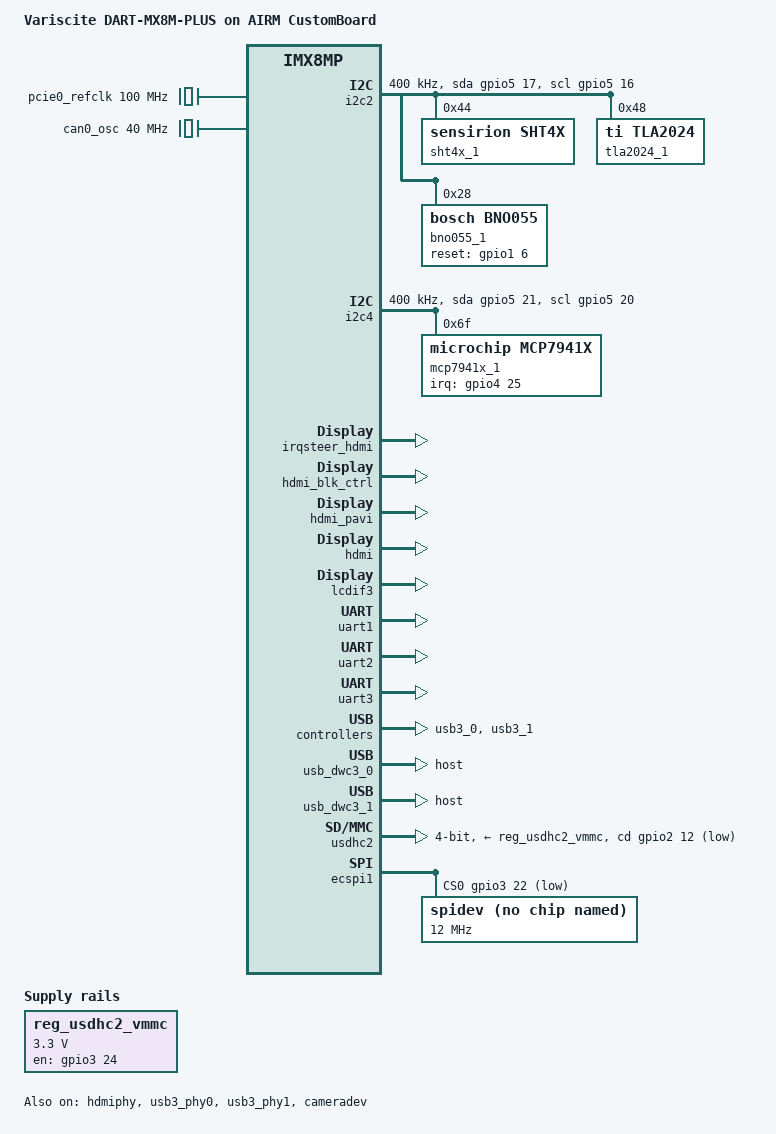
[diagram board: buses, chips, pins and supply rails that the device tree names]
// SPDX-License-Identifier: (GPL-2.0+ OR MIT)
/*
 * Copyright 2019 NXP
 * Copyright 2020-2023 Variscite Ltd.
 */

#include "imx8mp-var-dart.dtsi"

/ {
	model = "Variscite DART-MX8M-PLUS on AIRM CustomBoard";

	chosen {
		stdout-path = &uart1;
	};

	pcie0_refclk: pcie0-refclk {
		compatible = "fixed-clock";
		#clock-cells = <0>;
		clock-frequency = <100000000>;
	};

	reg_usdhc2_vmmc: regulator-usdhc2-vmmc {
		compatible = "regulator-fixed";
		regulator-name = "VSD_3V3";
		regulator-min-microvolt = <3300000>;
		regulator-max-microvolt = <3300000>;
		gpio = <&gpio3 24 GPIO_ACTIVE_HIGH>;
		enable-active-high;
		startup-delay-us = <100>;
		off-on-delay-us = <12000>;
	};

	can0_osc: can0_osc {
		compatible = "fixed-clock";
		#clock-cells = <0>;
		clock-frequency = <40000000>;
	};

	sound-wm8904 {
		status = "disabled";
	};

	sound_hdmi: sound_hdmi {
		compatible = "fsl,imx-audio-hdmi";
		model = "audio-hdmi";
		audio-cpu = <&aud2htx>;
		hdmi-out;
		constraint-rate = <44100>,
				<88200>,
				<176400>,
				<32000>,
				<48000>,
				<96000>,
				<192000>;
		status = "disabled";
	};

	sound-xcvr {
		compatible = "fsl,imx-audio-card";
		model = "imx-audio-xcvr";
		pri-dai-link {
			link-name = "XCVR PCM";
			cpu {
				sound-dai = <&xcvr>;
			};
		};
	};
};

&aud2htx {
	status = "disabled";
};

&i2c1 {
	wm8904: codec@1a {
		status = "disabled";
	};
};

&i2c2 {
	clock-frequency = <400000>;
	pinctrl-names = "default", "gpio";
	pinctrl-0 = <&pinctrl_i2c2>;
	pinctrl-1 = <&pinctrl_i2c2_gpio>;
	scl-gpios = <&gpio5 16 GPIO_ACTIVE_HIGH>;
	sda-gpios = <&gpio5 17 GPIO_ACTIVE_HIGH>;
	status = "okay";

	sht4x_1: sht4x@44 {
		compatible = "sensirion,sht4x";
		reg = <0x44>;
	};
	
	tla2024_1: tla2024@48 {
		compatible = "ti,tla2024";
		reg = <0x48>;
		#address-cells = <1>;
		#size-cells = <0>;
		channel@0 {
			reg = <4>;
			ti,gain = <1>;
			ti,datarate = <4>;
		};
		channel@1 {
			reg = <5>;
			ti,gain = <1>;
			ti,datarate = <4>;
		};
		channel@2 {
			reg = <6>;
			ti,gain = <1>;
			ti,datarate = <4>;
		};
		channel@3 {
			reg = <7>;
			ti,gain = <1>;
			ti,datarate = <4>;
		};
	};
	
	bno055_1: bno055_i2c@28 {
		compatible = "bosch,bno055";
		reg = <0x28>;
		reset-gpios = <&gpio1 6 GPIO_ACTIVE_HIGH>;
    };
};

&i2c4 {
	clock-frequency = <400000>;
	pinctrl-names = "default", "gpio";
	pinctrl-0 = <&pinctrl_i2c4>;
	pinctrl-1 = <&pinctrl_i2c4_gpio>;
	scl-gpios = <&gpio5 20 GPIO_ACTIVE_HIGH>;
	sda-gpios = <&gpio5 21 GPIO_ACTIVE_HIGH>;
	status = "okay";

	mcp7941x_1: mcp7941x@6f {
		compatible = "microchip,mcp7941x";
		reg = <0x6f>;
		pinctrl-names = "default";
		pinctrl-0 = <&pinctrl_rtc>;
		interrupt-parent = <&gpio4>;
		interrupts = <25 IRQ_TYPE_EDGE_FALLING>;
		wakeup-source;
		status = "okay";
	};

};

&i2c5 {
	clock-frequency = <400000>;
	pinctrl-names = "default", "gpio";
	pinctrl-0 = <&pinctrl_i2c5>;
	pinctrl-1 = <&pinctrl_i2c5_gpio>;
	scl-gpios = <&gpio3 21 GPIO_ACTIVE_HIGH>;
	sda-gpios = <&gpio3 25 GPIO_ACTIVE_HIGH>;
	status = "disabled";

	pca9538_71_0: pca9538@71 {
      /* For onsemi GPIO expander */
      compatible = "nxp,pca9538";
      #gpio-cells = <2>;
      reg = <0x71>;
      status = "okay";
   	};

	ar1335_mipi0: ar1335_mipi@42 {
		compatible = "ar1335";
		reg = <0x42>;
		clocks = <&clk IMX8MP_CLK_IPP_DO_CLKO2>;
		clock-names = "xclk";
/* Disabled CLKO2, since DART-MX8MP camera expansion board uses
 * its own oscillator. Enable CLK02 if your desing requres it
 */
#if 0
		assigned-clocks = <&clk IMX8MP_CLK_IPP_DO_CLKO2>;
		assigned-clock-parents = <&clk IMX8MP_CLK_24M>;
#endif
		assigned-clock-rates = <24000000>;
		csi_id = <0>;
		pen-gpios = <&gpio3 13 GPIO_ACTIVE_HIGH>;
		pwn-gpios = <&pca9538_71_0 6 GPIO_ACTIVE_HIGH>;
		rst-gpios = <&pca9538_71_0 0 GPIO_ACTIVE_LOW>;
		mclk = <24000000>;
		mclk_source = <0>;
		mipi_csi;
		camera_mipi_lanes = <2>;
		status = "disabled";

		port {
			ar1335_mipi_0_ep: endpoint {
				remote-endpoint = <&mipi_csi0_ep>;
				data-lanes = <1 2>;
				clock-lanes = <0>;
			};
		};
	};
};

&i2c6 {
	clock-frequency = <400000>;
	pinctrl-names = "default", "gpio";
	pinctrl-0 = <&pinctrl_i2c6>;
	pinctrl-1 = <&pinctrl_i2c6_gpio>;
	scl-gpios = <&gpio3 19 GPIO_ACTIVE_HIGH>;
	sda-gpios = <&gpio3 20 GPIO_ACTIVE_HIGH>;
	status = "disabled";

	pca9538_71_1: pca9538@71 {
      /* For onsemi GPIO expander */
      compatible = "nxp,pca9538";
      #gpio-cells = <2>;
      reg = <0x71>;
      status = "okay";
   	};

	ar1335_mipi1: ar1335_mipi@42 {
		compatible = "ar1335";
		reg = <0x42>;
		clocks = <&clk IMX8MP_CLK_IPP_DO_CLKO2>;
		clock-names = "xclk";
/* Disabled CLKO2, since DART-MX8MP camera expansion board uses
 * its own oscillator. Enable CLK02 if your desing requres it
 */
#if 0
		assigned-clocks = <&clk IMX8MP_CLK_IPP_DO_CLKO2>;
		assigned-clock-parents = <&clk IMX8MP_CLK_24M>;
#endif
		assigned-clock-rates = <24000000>;
		csi_id = <0>;
		pen-gpios = <&gpio3 15 GPIO_ACTIVE_HIGH>;
		pwn-gpios = <&pca9538_71_1 6 GPIO_ACTIVE_HIGH>;
      	rst-gpios = <&pca9538_71_1 0 GPIO_ACTIVE_LOW>;
		mclk = <24000000>;
		mclk_source = <0>;
		mipi_csi;
		camera_mipi_lanes = <2>;
		status = "disabled";

		port {
			ar1335_mipi_1_ep: endpoint {
				remote-endpoint = <&mipi_csi1_ep>;
				data-lanes = <1 2>;
				clock-lanes = <0>;
			};
		};
	};
};

&irqsteer_hdmi {
	status = "okay";
};

&hdmi_blk_ctrl {
	status = "okay";
};

&hdmi_pavi {
	status = "okay";
};

&hdmi {
	status = "okay";
};

&hdmiphy {
	status = "okay";
};

/* MIPI-DSI */
&lcdif1 {
	status = "disabled";
};

/* LVDS */
&lcdif2 {
	status = "disabled";
};

/* HDMI */
&lcdif3 {
	status = "okay";
	thres-low  = <1 2>;             /* (FIFO * 1 / 2) */
	thres-high = <3 4>;             /* (FIFO * 3 / 4) */
};

&mipi_dsi {
	status = "disabled";
};

/* Console */
&uart1 {
	pinctrl-names = "default";
	pinctrl-0 = <&pinctrl_uart1>;
	status = "okay";
};

/* Header */
&uart2 {
	pinctrl-names = "default";
	pinctrl-0 = <&pinctrl_uart2>;
	status = "okay";
};

/* Header */
&uart3 {
	pinctrl-names = "default";
	pinctrl-0 = <&pinctrl_uart3>;
	status = "okay";
};

&usb3_phy0 {
	fsl,phy-tx-vref-tune = <0xe>;
	fsl,phy-tx-preemp-amp-tune = <3>;
	fsl,phy-tx-vboost-level = <5>;
	fsl,phy-comp-dis-tune = <7>;
	fsl,pcs-tx-deemph-3p5db = <0x21>;
	fsl,phy-pcs-tx-swing-full = <0x7f>;
	status = "okay";
};

&usb3_0 {
	status = "okay";
};

&usb_dwc3_0 {
	dr_mode = "host";
	status = "okay";
};

&usb3_phy1 {
	fsl,phy-tx-preemp-amp-tune = <3>;
	fsl,phy-tx-vref-tune = <0xb>;
	status = "okay";
};

&usb3_1 {
	status = "okay";
};

&usb_dwc3_1 {
	dr_mode = "host";
	status = "okay";
};

&usdhc2 {
	pinctrl-names = "default", "state_100mhz", "state_200mhz";
	pinctrl-0 = <&pinctrl_usdhc2>, <&pinctrl_usdhc2_gpio>;
	pinctrl-1 = <&pinctrl_usdhc2_100mhz>, <&pinctrl_usdhc2_gpio>;
	pinctrl-2 = <&pinctrl_usdhc2_200mhz>, <&pinctrl_usdhc2_gpio>;
	cd-gpios = <&gpio2 12 GPIO_ACTIVE_LOW>;
	vmmc-supply = <&reg_usdhc2_vmmc>;
	bus-width = <4>;
	max-frequency = <100000000>;
	status = "okay";
};

&mipi_csi_0 {
	#address-cells = <1>;
	#size-cells = <0>;
	status = "disabled";

	port@0 {
		reg = <0>;
		mipi_csi0_ep: endpoint {
			remote-endpoint = <&ar1335_mipi_0_ep>;
			data-lanes = <2>;
			csis-hs-settle = <13>;
			csis-clk-settle = <2>;
			csis-wclk;
		};
	};
};

&mipi_csi_1 {
	#address-cells = <1>;
	#size-cells = <0>;
	status = "disabled";

	port@1 {
		reg = <1>;
		mipi_csi1_ep: endpoint {
			remote-endpoint = <&ar1335_mipi_1_ep>;
			data-lanes = <2>;
			csis-hs-settle = <13>;
			csis-clk-settle = <2>;
			csis-wclk;
		};
	};
};

&cameradev {
	status = "okay";
};

&isi_0 {
	status = "disabled";

	cap_device {
		status = "okay";
	};

	m2m_device {
		status = "okay";
	};
};

&isi_1 {
	status = "disabled";

	cap_device {
		status = "okay";
	};

	m2m_device {
		status = "okay";
	};
};

&ecspi1 {
	pinctrl-names = "default", "sleep";
	pinctrl-0 = <&pinctrl_ecspi1>;
	pinctrl-1 = <&pinctrl_ecspi1_sleep>;
	cs-gpios = <&gpio3 22 GPIO_ACTIVE_LOW>;
	status = "okay";

	spidev@0 {
		compatible = "var,spidev";
		reg = <0>;
		spi-max-frequency = <12000000>;
		status = "okay";
	};
};

&xcvr {
	#sound-dai-cells = <0>;
	status = "disabled";
};

&sai3 {
	status = "disabled";
};

&iomuxc {
	pinctrl-names = "default", "sleep";
	pinctrl-0 = <&pinctrl_hog>;
	pinctrl-1 = <&pinctrl_hog_sleep>;

	pinctrl_hog: hoggrp {
		fsl,pins = <
			MX8MP_IOMUXC_HDMI_DDC_SCL__HDMIMIX_HDMI_SCL		0x400001c2
			MX8MP_IOMUXC_HDMI_DDC_SDA__HDMIMIX_HDMI_SDA		0x400001c2
			MX8MP_IOMUXC_HDMI_HPD__HDMIMIX_HDMI_HPD			0x40000010
			MX8MP_IOMUXC_HDMI_CEC__HDMIMIX_HDMI_CEC			0x40000010
			MX8MP_IOMUXC_SAI1_RXD0__GPIO4_IO02					0x4			// Filter Switch_1 IN1
			MX8MP_IOMUXC_SAI1_RXD2__GPIO4_IO04					0x4			// Filter Switch_1 IN2
			MX8MP_IOMUXC_SAI1_RXD3__GPIO4_IO05					0x4			// Filter Switch_2 IN1
			MX8MP_IOMUXC_SAI1_TXFS__GPIO4_IO10					0x4			// Filter Swtich_2 IN2
			MX8MP_IOMUXC_SAI1_RXD4__GPIO4_IO06					0x4			// LiDAR Relay (ext 10K PD)
			MX8MP_IOMUXC_SAI1_RXD6__GPIO4_IO08					0x4			// Stepper Relay (ext 10K PD)
			MX8MP_IOMUXC_SAI1_RXD7__GPIO4_IO09					0x4			// Stepper Clock
			MX8MP_IOMUXC_SAI1_TXD0__GPIO4_IO12					0x4			// Stepper Enable
			MX8MP_IOMUXC_SAI1_TXC__GPIO4_IO11					0xA0			// Stepper Error (input)
			MX8MP_IOMUXC_SAI1_TXD1__GPIO4_IO13					0x4			// Stepper CW/CCW
			MX8MP_IOMUXC_SAI1_RXD5__GPIO4_IO07					0x4			// Stepper Reset
			MX8MP_IOMUXC_SAI1_TXD5__GPIO4_IO17					0xA0			// Stepper Angle (input, ext 10K PU 3V3)
			MX8MP_IOMUXC_SAI1_MCLK__GPIO4_IO20					0xA0			// Limit Switch (input, normally open, ext 10K PU 3V3) 
			MX8MP_IOMUXC_SAI1_TXD6__GPIO4_IO18					0x4			// Encoder RS485 Shutdown (active low, ext 10K PD)
			MX8MP_IOMUXC_SAI1_TXD3__GPIO4_IO15					0x4			// VREF_CS (active low, ext 47K UP 3V3)
			MX8MP_IOMUXC_SAI1_TXD4__GPIO4_IO16					0x4			// VREF_INC (active low, ext 47K PU 3V3)
			MX8MP_IOMUXC_SAI1_TXD7__GPIO4_IO19					0x4			// VREF_U_nD
			MX8MP_IOMUXC_SAI1_RXD1__GPIO4_IO03					0x4			// LTE Power Enable (ext 47K PD)
			MX8MP_IOMUXC_SAI1_RXFS__GPIO4_IO00					0x24			// LTE Translator Enable (ext 10K PU 3V3)
			MX8MP_IOMUXC_NAND_DATA01__GPIO3_IO07				0x24			// LTE W_DISABLE (active low)
			MX8MP_IOMUXC_NAND_CE0_B__GPIO3_IO01					0x24			// LTE Reset (active low)
			MX8MP_IOMUXC_SAI2_TXD0__GPIO4_IO26					0xA0			// LTE Wake (input, active low, ext 56K PU 3V3)
			MX8MP_IOMUXC_GPIO1_IO09__GPIO1_IO09					0x4			// LoRa Power Enable (ext 47K PD)
			MX8MP_IOMUXC_SAI5_RXD2__GPIO3_IO23					0x24			// LoRa Reset (active low, ext 10K PU 3V3)
			MX8MP_IOMUXC_SD2_RESET_B__GPIO2_IO19				0x20			// Not Used (1.8V)
			MX8MP_IOMUXC_SD1_RESET_B__GPIO2_IO10				0x20			// Not Used (1.8V)
			MX8MP_IOMUXC_GPIO1_IO05__GPIO1_IO05					0x4			// GNSS Power Enable (ext 100K PD)
			MX8MP_IOMUXC_GPIO1_IO01__GPIO1_IO01					0x124			// GNSS Interrupt (input)
			MX8MP_IOMUXC_GPIO1_IO11__GPIO1_IO11					0x24			// GNSS Reset (active low)
			MX8MP_IOMUXC_GPIO1_IO08__GPIO1_IO08					0xA0			// IMU Interrupt (input, ext 10K PU 3V3)
			MX8MP_IOMUXC_GPIO1_IO06__GPIO1_IO06 				0x24        // IMU Reset (active low, ext 10K PU 3V3)
			MX8MP_IOMUXC_SAI1_RXC__GPIO4_IO01					0x4			// SDI-12 Enable (ext 10K PD)
			MX8MP_IOMUXC_GPIO1_IO14__GPIO1_IO14					0x84			// SDI12_A (input/output)
			MX8MP_IOMUXC_GPIO1_IO12__GPIO1_IO12					0x84			// SDI12_B (input/output)
			MX8MP_IOMUXC_SAI2_TXFS__GPIO4_IO24					0x24			// USB HUB Reset (active low, ext 10K PU USB3_HUB_3V3)
			MX8MP_IOMUXC_SAI2_MCLK__GPIO4_IO27					0xA0			// USB Power Fault (input, active low, ext 10K PU 3V3)
			MX8MP_IOMUXC_GPIO1_IO10__GPIO1_IO10					0x4			// Battery Monitor RS485 Shutdown (active low, ext 10K PD)
			MX8MP_IOMUXC_GPIO1_IO07__GPIO1_IO07					0x4			// UART3 Mux (ext 100K PD) (0=GNSS, 1=BATT)
			MX8MP_IOMUXC_GPIO1_IO13__GPIO1_IO13					0x4			// MIPI P1 Pweer Enable (ext 47K PD)
			MX8MP_IOMUXC_GPIO1_IO15__GPIO1_IO15					0x4			// MIPI P2 Power Enable (ext 47K PD)
			MX8MP_IOMUXC_NAND_DQS__GPIO3_IO14					0x20			// Expansion GPIO5
			MX8MP_IOMUXC_NAND_ALE__GPIO3_IO00					0x20			// Expansion GPIO4
			MX8MP_IOMUXC_NAND_DATA03__GPIO3_IO09				0x20			// Expansion GPIO3
			MX8MP_IOMUXC_NAND_DATA00__GPIO3_IO06				0x20			// Expansion GPIO2
			MX8MP_IOMUXC_NAND_DATA02__GPIO3_IO08				0x20			// Expansion GPIO1
			MX8MP_IOMUXC_SPDIF_RX__GPIO5_IO04					0xA4			// LoRa DIO (input/output)
			MX8MP_IOMUXC_SPDIF_EXT_CLK__GPIO5_IO05				0xA0			// LoRa Busy (input)
			MX8MP_IOMUXC_SPDIF_TX__GPIO5_IO03					0x20			// Spare GPIO

		>;
	};

	pinctrl_hog_sleep: hogsleepgrp {
		fsl,pins = <
			MX8MP_IOMUXC_HDMI_DDC_SCL__HDMIMIX_HDMI_SCL		0x400001c2
			MX8MP_IOMUXC_HDMI_DDC_SDA__HDMIMIX_HDMI_SDA		0x400001c2
			MX8MP_IOMUXC_HDMI_HPD__HDMIMIX_HDMI_HPD			0x40000010
			MX8MP_IOMUXC_HDMI_CEC__HDMIMIX_HDMI_CEC			0x40000010
			MX8MP_IOMUXC_SAI1_RXD0__GPIO4_IO02					0x24			// Filter Switch_1 IN1
			MX8MP_IOMUXC_SAI1_RXD2__GPIO4_IO04					0x24			// Filter Switch_1 IN2
			MX8MP_IOMUXC_SAI1_RXD3__GPIO4_IO05					0x24			// Filter Switch_2 IN1
			MX8MP_IOMUXC_SAI1_TXFS__GPIO4_IO10					0x24			// Filter Swtich_2 IN2
			MX8MP_IOMUXC_SAI1_RXD4__GPIO4_IO06					0x24			// LiDAR Relay (ext 10K PD)
			MX8MP_IOMUXC_SAI1_RXD6__GPIO4_IO08					0x24			// Stepper Relay (ext 10K PD)
			MX8MP_IOMUXC_SAI1_RXD7__GPIO4_IO09					0x4			// Stepper Clock
			MX8MP_IOMUXC_SAI1_TXD0__GPIO4_IO12					0x4			// Stepper Enable
			MX8MP_IOMUXC_SAI1_TXC__GPIO4_IO11					0xA0			// Stepper Error (input)
			MX8MP_IOMUXC_SAI1_TXD1__GPIO4_IO13					0x4			// Stepper CW/CCW
			MX8MP_IOMUXC_SAI1_RXD5__GPIO4_IO07					0x4			// Stepper Reset
			MX8MP_IOMUXC_SAI1_TXD5__GPIO4_IO17					0xA0			// Stepper Angle (input, ext 10K PU 3V3)
			MX8MP_IOMUXC_SAI1_MCLK__GPIO4_IO20					0xA0			// Limit Switch (input, normally open, ext 10K PU 3V3) 
			MX8MP_IOMUXC_SAI1_TXD6__GPIO4_IO18					0x24			// Encoder RS485 Shutdown (active low, ext 10K PD)
			MX8MP_IOMUXC_SAI1_TXD3__GPIO4_IO15					0x24			// VREF_CS (active low, ext 47K UP 3V3)
			MX8MP_IOMUXC_SAI1_TXD4__GPIO4_IO16					0x24			// VREF_INC (active low, ext 47K PU 3V3)
			MX8MP_IOMUXC_SAI1_TXD7__GPIO4_IO19					0x4			// VREF_U_nD
			MX8MP_IOMUXC_SAI1_RXD1__GPIO4_IO03					0x24			// LTE Power Enable (ext 47K PD)
			MX8MP_IOMUXC_SAI1_RXFS__GPIO4_IO00					0x24			// LTE Translator Enable (ext 10K PU 3V3)
			MX8MP_IOMUXC_NAND_DATA01__GPIO3_IO07				0x24			// LTE W_DISABLE (active low)
			MX8MP_IOMUXC_NAND_CE0_B__GPIO3_IO01					0x24			// LTE Reset (active low)
			MX8MP_IOMUXC_SAI2_TXD0__GPIO4_IO26					0xA0			// LTE Wake (input, active low, ext 56K PU 3V3)
			MX8MP_IOMUXC_GPIO1_IO09__GPIO1_IO09					0x24			// LoRa Power Enable (ext 47K PD)
			MX8MP_IOMUXC_SAI5_RXD2__GPIO3_IO23					0x24			// LoRa Reset (active low, ext 10K PU 3V3)
			MX8MP_IOMUXC_SD2_RESET_B__GPIO2_IO19				0x20			// Not Used (1.8V)
			MX8MP_IOMUXC_SD1_RESET_B__GPIO2_IO10				0x20			// Not Used (1.8V)
			MX8MP_IOMUXC_GPIO1_IO05__GPIO1_IO05					0x4			// GNSS Power Enable (ext 100K PD)
			MX8MP_IOMUXC_GPIO1_IO01__GPIO1_IO01					0x124			// GNSS Interrupt (input)
			MX8MP_IOMUXC_GPIO1_IO11__GPIO1_IO11					0x24			// GNSS Reset (active low)
			MX8MP_IOMUXC_GPIO1_IO08__GPIO1_IO08					0xA0			// IMU Interrupt (input, ext 10K PU 3V3)
			MX8MP_IOMUXC_GPIO1_IO06__GPIO1_IO06 				0x24        // IMU Reset (active low, ext 10K PU 3V3)
			MX8MP_IOMUXC_SAI1_RXC__GPIO4_IO01					0x24			// SDI-12 Enable (ext 10K PD)
			MX8MP_IOMUXC_GPIO1_IO14__GPIO1_IO14					0x84			// SDI12_A (input/output)
			MX8MP_IOMUXC_GPIO1_IO12__GPIO1_IO12					0x84			// SDI12_B (input/output)
			MX8MP_IOMUXC_SAI2_TXFS__GPIO4_IO24					0x24			// USB HUB Reset (active low, ext 10K PU USB3_HUB_3V3)
			MX8MP_IOMUXC_SAI2_MCLK__GPIO4_IO27					0xA0			// USB Power Fault (input, active low, ext 10K PU 3V3)
			MX8MP_IOMUXC_GPIO1_IO10__GPIO1_IO10					0x24			// Battery Monitor RS485 Shutdown (active low, ext 10K PD)
			MX8MP_IOMUXC_GPIO1_IO07__GPIO1_IO07					0x24			// UART3 Mux (ext 100K PD) (0=GNSS, 1=BATT)
			MX8MP_IOMUXC_GPIO1_IO13__GPIO1_IO13					0x24			// MIPI P1 Pweer Enable (ext 47K PD)
			MX8MP_IOMUXC_GPIO1_IO15__GPIO1_IO15					0x24			// MIPI P2 Power Enable (ext 47K PD)
			MX8MP_IOMUXC_NAND_DQS__GPIO3_IO14					0x20			// Expansion GPIO5
			MX8MP_IOMUXC_NAND_ALE__GPIO3_IO00					0x20			// Expansion GPIO4
			MX8MP_IOMUXC_NAND_DATA03__GPIO3_IO09				0x20			// Expansion GPIO3
			MX8MP_IOMUXC_NAND_DATA00__GPIO3_IO06				0x20			// Expansion GPIO2
			MX8MP_IOMUXC_NAND_DATA02__GPIO3_IO08				0x20			// Expansion GPIO1
			MX8MP_IOMUXC_SPDIF_RX__GPIO5_IO04					0xA4			// LoRa DIO (input/output)
			MX8MP_IOMUXC_SPDIF_EXT_CLK__GPIO5_IO05				0xA0			// LoRa Busy (input)
			MX8MP_IOMUXC_SPDIF_TX__GPIO5_IO03					0x20			// Spare GPIO

		>;
	};

	pinctrl_i2c2: i2c2grp {
		fsl,pins = <
			MX8MP_IOMUXC_I2C2_SCL__I2C2_SCL					0x400001c2
			MX8MP_IOMUXC_I2C2_SDA__I2C2_SDA					0x400001c2
		>;
	};

	pinctrl_i2c4: i2c4grp {
		fsl,pins = <
			MX8MP_IOMUXC_I2C4_SCL__I2C4_SCL					0x400001c2
			MX8MP_IOMUXC_I2C4_SDA__I2C4_SDA					0x400001c2
		>;
	};

	pinctrl_i2c5: i2c5grp {
		fsl,pins = <
			MX8MP_IOMUXC_SAI5_RXD0__I2C5_SCL				0x400001c2	
			MX8MP_IOMUXC_SAI5_MCLK__I2C5_SDA				0x400001c2	
		>;
	};

	pinctrl_i2c6: i2c6grp {
		fsl,pins = <
			MX8MP_IOMUXC_SAI5_RXFS__I2C6_SCL				0x400001c2	
			MX8MP_IOMUXC_SAI5_RXC__I2C6_SDA					0x400001c2	
		>;
	};
	
	pinctrl_i2c2_gpio: i2c2gpiogrp {
		fsl,pins = <
			MX8MP_IOMUXC_I2C2_SCL__GPIO5_IO16				0x1c2
			MX8MP_IOMUXC_I2C2_SDA__GPIO5_IO17				0x1c2
		>;
	};

	pinctrl_i2c4_gpio: i2c4gpiogrp {
		fsl,pins = <
			MX8MP_IOMUXC_I2C4_SCL__GPIO5_IO20				0x1c2
			MX8MP_IOMUXC_I2C4_SDA__GPIO5_IO21				0x1c2
		>;
	};

	pinctrl_i2c5_gpio: i2c5gpiogrp {
		fsl,pins = <
			MX8MP_IOMUXC_SAI5_RXD0__GPIO3_IO21				0x1c2
			MX8MP_IOMUXC_SAI5_MCLK__GPIO3_IO25				0x1c2
		>;
	};

	pinctrl_i2c6_gpio: i2c6gpiogrp {
		fsl,pins = <
			MX8MP_IOMUXC_SAI5_RXFS__GPIO3_IO19				0x1c2
			MX8MP_IOMUXC_SAI5_RXC__GPIO3_IO20				0x1c2
		>;
	};

	pinctrl_uart1: uart1grp {
		fsl,pins = <
			MX8MP_IOMUXC_UART1_RXD__UART1_DCE_RX				0x40
			MX8MP_IOMUXC_UART1_TXD__UART1_DCE_TX				0x40
		>;
	};

	pinctrl_uart2: uart2grp {
		fsl,pins = <
			MX8MP_IOMUXC_UART2_RXD__UART2_DCE_RX				0x40
			MX8MP_IOMUXC_UART2_TXD__UART2_DCE_TX				0x40
		>;
	};
	
	pinctrl_uart3: uart3grp {
		fsl,pins = <
			MX8MP_IOMUXC_UART3_RXD__UART3_DCE_RX				0x40
			MX8MP_IOMUXC_UART3_TXD__UART3_DCE_TX				0x40
		>;
	};

	pinctrl_usdhc2_gpio: usdhc2grp-gpio {
		fsl,pins = <
			MX8MP_IOMUXC_SD2_CD_B__GPIO2_IO12 				0x1c4
			MX8MP_IOMUXC_SAI5_RXD3__GPIO3_IO24				0x40
		>;
	};

	pinctrl_usdhc2: usdhc2grp {
		fsl,pins = <
			MX8MP_IOMUXC_SD2_CLK__USDHC2_CLK				0x190
			MX8MP_IOMUXC_SD2_CMD__USDHC2_CMD				0x1d0
			MX8MP_IOMUXC_SD2_DATA0__USDHC2_DATA0				0x1d0
			MX8MP_IOMUXC_SD2_DATA1__USDHC2_DATA1				0x1d0
			MX8MP_IOMUXC_SD2_DATA2__USDHC2_DATA2				0x1d0
			MX8MP_IOMUXC_SD2_DATA3__USDHC2_DATA3				0x1d0
			MX8MP_IOMUXC_GPIO1_IO04__USDHC2_VSELECT				0xc0
		>;
	};

	pinctrl_usdhc2_100mhz: usdhc2grp-100mhz {
		fsl,pins = <
			MX8MP_IOMUXC_SD2_CLK__USDHC2_CLK				0x194
			MX8MP_IOMUXC_SD2_CMD__USDHC2_CMD				0x1d4
			MX8MP_IOMUXC_SD2_DATA0__USDHC2_DATA0				0x1d4
			MX8MP_IOMUXC_SD2_DATA1__USDHC2_DATA1				0x1d4
			MX8MP_IOMUXC_SD2_DATA2__USDHC2_DATA2				0x1d4
			MX8MP_IOMUXC_SD2_DATA3__USDHC2_DATA3				0x1d4
			MX8MP_IOMUXC_GPIO1_IO04__USDHC2_VSELECT 			0xc0
		>;
	};

	pinctrl_usdhc2_200mhz: usdhc2grp-200mhz {
		fsl,pins = <
			MX8MP_IOMUXC_SD2_CLK__USDHC2_CLK				0x196
			MX8MP_IOMUXC_SD2_CMD__USDHC2_CMD				0x1d6
			MX8MP_IOMUXC_SD2_DATA0__USDHC2_DATA0				0x1d6
			MX8MP_IOMUXC_SD2_DATA1__USDHC2_DATA1				0x1d6
			MX8MP_IOMUXC_SD2_DATA2__USDHC2_DATA2				0x1d6
			MX8MP_IOMUXC_SD2_DATA3__USDHC2_DATA3				0x1d6
			MX8MP_IOMUXC_GPIO1_IO04__USDHC2_VSELECT 			0xc0
		>;
	};

	pinctrl_ecspi1: ecspi1grp {
		fsl,pins = <
			MX8MP_IOMUXC_ECSPI1_SCLK__ECSPI1_SCLK				0x12
			MX8MP_IOMUXC_ECSPI1_MOSI__ECSPI1_MOSI				0x12
			MX8MP_IOMUXC_ECSPI1_MISO__ECSPI1_MISO				0x12
			MX8MP_IOMUXC_SAI5_RXD1__GPIO3_IO22					0x12
		>;
	};

	pinctrl_ecspi1_sleep: ecspi1sleepgrp {
		fsl,pins = <
			MX8MP_IOMUXC_ECSPI1_SCLK__ECSPI1_SCLK				0x12
			MX8MP_IOMUXC_ECSPI1_MOSI__ECSPI1_MOSI				0x12
			MX8MP_IOMUXC_ECSPI1_MISO__ECSPI1_MISO				0x12
			MX8MP_IOMUXC_SAI5_RXD1__GPIO3_IO22					0x00000062
		>;
	};

	pinctrl_rtc: rtcgrp {
		fsl,pins = <
			MX8MP_IOMUXC_SAI2_TXC__GPIO4_IO25 				0x1c0
		>;
	};
	

};

&gpio1 {
	gpio-line-names =
		"GPIO1_IO00",
		"GPIO1_IO01",
		"GPIO1_IO02",
		"GPIO1_IO03",
		"GPIO1_IO04",
		"GPIO1_IO05",
		"GPIO1_IO06",
		"GPIO1_IO07",
		"GPIO1_IO08",
		"GPIO1_IO09",
		"GPIO1_IO10",
		"GPIO1_IO11",
		"GPIO1_IO12",
		"GPIO1_IO13",
		"GPIO1_IO14",
		"GPIO1_IO15",
		"GPIO1_IO16",
		"GPIO1_IO17",
		"GPIO1_IO18",
		"GPIO1_IO19",
		"GPIO1_IO20",
		"GPIO1_IO21",
		"GPIO1_IO22",
		"GPIO1_IO23",
		"GPIO1_IO24",
		"GPIO1_IO25",
		"GPIO1_IO26",
		"GPIO1_IO27",
		"GPIO1_IO28",
		"GPIO1_IO29",
		"GPIO1_IO30",
		"GPIO1_IO31";
};

&gpio2 {
	gpio-line-names =
		"GPIO2_IO00",
		"GPIO2_IO01",
		"GPIO2_IO02",
		"GPIO2_IO03",
		"GPIO2_IO04",
		"GPIO2_IO05",
		"GPIO2_IO06",
		"GPIO2_IO07",
		"GPIO2_IO08",
		"GPIO2_IO09",
		"GPIO2_IO10",
		"GPIO2_IO11",
		"GPIO2_IO12",
		"GPIO2_IO13",
		"GPIO2_IO14",
		"GPIO2_IO15",
		"GPIO2_IO16",
		"GPIO2_IO17",
		"GPIO2_IO18",
		"GPIO2_IO19",
		"GPIO2_IO20",
		"GPIO2_IO21",
		"GPIO2_IO22",
		"GPIO2_IO23",
		"GPIO2_IO24",
		"GPIO2_IO25",
		"GPIO2_IO26",
		"GPIO2_IO27",
		"GPIO2_IO28",
		"GPIO2_IO29",
		"GPIO2_IO30",
		"GPIO2_IO31";
};

&gpio3 {
	gpio-line-names =
		"GPIO3_IO00",
		"GPIO3_IO01",
		"GPIO3_IO02",
		"GPIO3_IO03",
		"GPIO3_IO04",
		"GPIO3_IO05",
		"GPIO3_IO06",
		"GPIO3_IO07",
		"GPIO3_IO08",
		"GPIO3_IO09",
		"GPIO3_IO10",
		"GPIO3_IO11",
		"GPIO3_IO12",
		"GPIO3_IO13",
		"GPIO3_IO14",
		"GPIO3_IO15",
		"GPIO3_IO16",
		"GPIO3_IO17",
		"GPIO3_IO18",
		"GPIO3_IO19",
		"GPIO3_IO20",
		"GPIO3_IO21",
		"GPIO3_IO22",
		"GPIO3_IO23",
		"GPIO3_IO24",
		"GPIO3_IO25",
		"GPIO3_IO26",
		"GPIO3_IO27",
		"GPIO3_IO28",
		"GPIO3_IO29",
		"GPIO3_IO30",
		"GPIO3_IO31";
};

&gpio4 {
	gpio-line-names =
		"GPIO4_IO00",
		"GPIO4_IO01",
		"GPIO4_IO02",
		"GPIO4_IO03",
		"GPIO4_IO04",
		"GPIO4_IO05",
		"GPIO4_IO06",
		"GPIO4_IO07",
		"GPIO4_IO08",
		"GPIO4_IO09",
		"GPIO4_IO10",
		"GPIO4_IO11",
		"GPIO4_IO12",
		"GPIO4_IO13",
		"GPIO4_IO14",
		"GPIO4_IO15",
		"GPIO4_IO16",
		"GPIO4_IO17",
		"GPIO4_IO18",
		"GPIO4_IO19",
		"GPIO4_IO20",
		"GPIO4_IO21",
		"GPIO4_IO22",
		"GPIO4_IO23",
		"GPIO4_IO24",
		"GPIO4_IO25",
		"GPIO4_IO26",
		"GPIO4_IO27",
		"GPIO4_IO28",
		"GPIO4_IO29",
		"GPIO4_IO30",
		"GPIO4_IO31";
};

&gpio5 {
	gpio-line-names =
		"GPIO5_IO00",
		"GPIO5_IO01",
		"GPIO5_IO02",
		"GPIO5_IO03",
		"GPIO5_IO04",
		"GPIO5_IO05",
		"GPIO5_IO06",
		"GPIO5_IO07",
		"GPIO5_IO08",
		"GPIO5_IO09",
		"GPIO5_IO10",
		"GPIO5_IO11",
		"GPIO5_IO12",
		"GPIO5_IO13",
		"GPIO5_IO14",
		"GPIO5_IO15",
		"GPIO5_IO16",
		"GPIO5_IO17",
		"GPIO5_IO18",
		"GPIO5_IO19",
		"GPIO5_IO20",
		"GPIO5_IO21",
		"GPIO5_IO22",
		"GPIO5_IO23",
		"GPIO5_IO24",
		"GPIO5_IO25",
		"GPIO5_IO26",
		"GPIO5_IO27",
		"GPIO5_IO28",
		"GPIO5_IO29",
		"GPIO5_IO30",
		"GPIO5_IO31";
};

